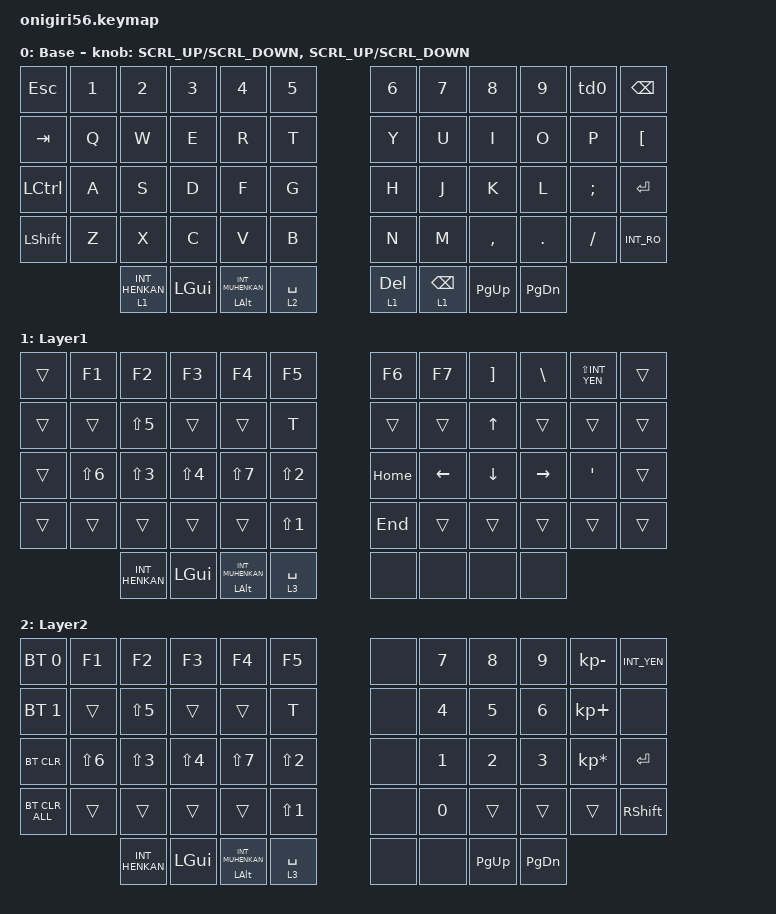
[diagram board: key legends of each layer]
#include <behaviors.dtsi>
#include <dt-bindings/zmk/bt.h>
#include <dt-bindings/zmk/keys.h>
#include <dt-bindings/zmk/outputs.h>
#include <dt-bindings/zmk/pointing.h>

#define ZMK_POINTING_DEFAULT_SCRL_VAL 120 // (好きな値)


&lt {
    tapping-term-ms = <200>; // This is the value already set by default
};

/ {
    behaviors {
        td0: tap_dance_0 {
            compatible = "zmk,behavior-tap-dance";
            #binding-cells = <0>;
            tapping-term-ms = <200>;
            bindings = <&kp MINUS>, <&kp N0>;
        };

        // 垂直スクロール用のbehaviorの設定
        mouse_scrl: mouse_wheel_scrl {
        compatible = "zmk,behavior-sensor-rotate-var";
        #sensor-binding-cells = <2>;
        bindings = <&msc>, <&msc>;
        tap-ms = <10>;
        };

        // 垂直スクロール用のbehaviorの設定
        scroll_up_down: behavior_sensor_rotate_mouse_wheel_up_down {
            compatible = "zmk,behavior-sensor-rotate";
            #sensor-binding-cells = <0>;
            bindings = <&msc SCRL_UP>, <&msc SCRL_DOWN>;
            tap-ms = <20>; // スクロールのタップ時間
        };
        // 水平スクロール用のbehaviorの設定
        scroll_left_right: behavior_sensor_rotate_mouse_wheel_left_right {
            compatible = "zmk,behavior-sensor-rotate";
            #sensor-binding-cells = <0>;
            bindings = <&msc SCRL_LEFT>, <&msc SCRL_RIGHT>;
            tap-ms = <20>; // スクロールのタップ時間
        };
    };

    keymap {
        compatible = "zmk,keymap";

        default_layer {
            display-name = "Base"; 
            bindings = <
                &kp ESC    &kp N1    &kp N2    &kp N3    &kp N4    &kp N5                  &kp N6    &kp N7    &kp N8    &kp N9    &td0    &kp BSPC
                &kp TAB    &kp Q     &kp W     &kp E     &kp R     &kp T                   &kp Y     &kp U     &kp I     &kp O     &kp P   &kp LBKT
                &kp LCTRL  &kp A     &kp S     &kp D     &kp F     &kp G                   &kp H     &kp J     &kp K     &kp L     &kp SEMICOLON   &kp ENTER
                &kp LSHFT  &kp Z     &kp X     &kp C     &kp V     &kp B                   &kp N     &kp M     &kp COMMA     &kp DOT     &kp SLASH   &kp INT_RO
                    &lt 1 INT_HENKAN    &kp LGUI    &mt LALT INT_MUHENKAN    &lt 2 SPACE   &lt 1 DEL    &lt 1 BSPC    &kp PG_UP    &kp PG_DN
            >;  
            sensor-bindings = <
                &mouse_scrl SCRL_UP SCRL_DOWN
                &mouse_scrl SCRL_UP SCRL_DOWN
            >;
        };    

        layer_1 {
            display-name = "Layer1"; 
            bindings = <
                &trans     &kp F1        &kp F2        &kp F3        &kp F4        &kp F5            &kp F6    &kp F7    &kp RBKT    &kp BSLH    &kp LS(INT_YEN)    &trans
                &trans     &trans        &kp LS(N5)    &trans        &trans     &kp T                &trans    &trans    &kp UP      &trans      &trans             &trans
                &trans     &kp LS(N6)    &kp LS(N3)    &kp LS(N4)    &kp LS(N7)    &kp LS(N2)        &kp HOME  &kp LEFT  &kp DOWN    &kp RIGHT   &kp APOSTROPHE     &trans
                &trans     &trans        &trans        &trans        &trans        &kp LS(N1)        &kp END   &trans    &trans      &trans      &trans             &trans
                    &kp INT_HENKAN    &kp LGUI    &mt LALT INT_MUHENKAN    &lt 3 SPACE               &none     &none     &none       &none
            >;  
        };  

        layer_2 {
            display-name = "Layer2";
            bindings = <
                &bt BT_SEL 0        &kp F1        &kp F2        &kp F3        &kp F4        &kp F5            &none    &kp N7    &kp N8    &kp N9    &kp KP_MINUS    &kp INT_YEN
                &bt BT_SEL 1        &trans        &kp LS(N5)    &trans        &trans        &kp T             &none    &kp N4    &kp N5    &kp N6    &kp KP_PLUS     &none
                &bt BT_CLR          &kp LS(N6)    &kp LS(N3)    &kp LS(N4)    &kp LS(N7)    &kp LS(N2)        &none    &kp N1    &kp N2    &kp N3    &kp KP_ASTERISK &kp ENTER
                &bt BT_CLR_ALL      &trans        &trans        &trans        &trans        &kp LS(N1)        &none    &kp N0    &trans    &trans    &trans          &kp RSHFT
                    &kp INT_HENKAN    &kp LGUI    &mt LALT INT_MUHENKAN    &lt 3 SPACE               &none    &none     &kp PG_UP    &kp PG_DN
            >;  
        };  
    };
};
